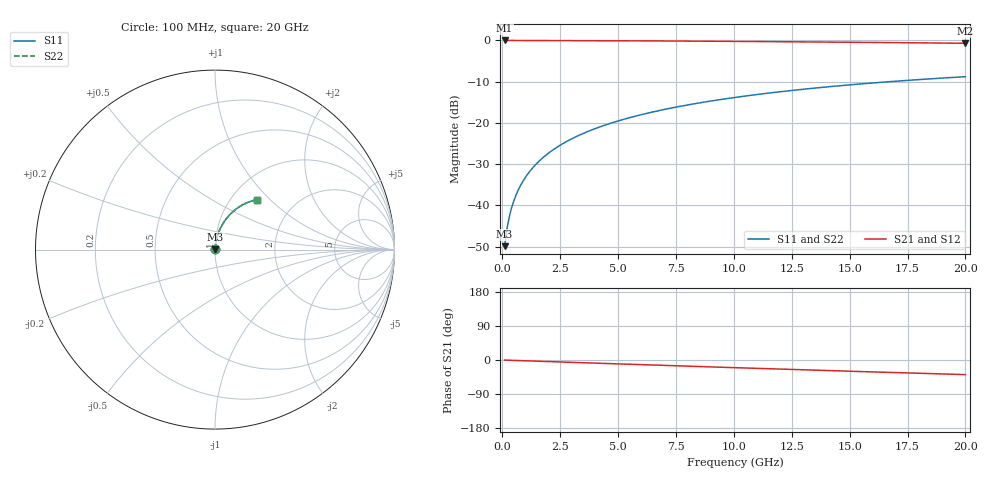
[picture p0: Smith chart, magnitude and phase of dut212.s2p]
! Touchstone file exported from HFSS 2026.1.0
!  File:  C:/ffzhzh/LocalFiles/Ansys_Project_Files/temp_train_TMRDL_212_1782984156_45328.aedt
!  Generated:  05:23:56 PM Jul  2, 2026
!  Design:  TMRDL
!  Project:  temp_train_TMRDL_212_1782984156_45328
! Variables:
!  h_bsmrdl = 2um
!  h_ox = 20um
!  h_rdl = 5um
!  h_sub = 80um
!  h_tmrdl = 3.7um
!  h_tsv = 80um
!  h_via = 3um
!  l_bsmrdl = 300um
!  l_sub = 940.09um
!  l_tmrdl = 540.09um
!  m_sub = 200um
!  pitch = 58.17um
!  r_tsv = 6um
!  s_tmrdl = 10um
!  w_bsmrdl = 18um
!  w_sub = 500um
!  w_tmrdl = 26.59um
!  x_tsv_center1 = 553.385um
!  x_tsv_center2 = 871.385um
!  x_tsv_center3 = 1438.065um
!  x_tsv_center4 = 1756.065um
!  x_tsv_center5 = 2322.745um
!  x_tsv_center6 = 2640.745um
# GHz S MA R 50.000000
! Terminal data exported
! Port[1] = TM_RDL1_1_T1
! Port[2] = TM_RDL1_1_T2
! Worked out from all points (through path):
!   200 points, 100 MHz to 20 GHz, reference 50 ohm
!   highest |S21| = -0.02 dB at 100 MHz (marker M1); lowest = -0.7 dB at 20 GHz (marker M2)
!   group delay of S21, straight-line fit = 5.37 ps
!   lowest |S11| = -49.9 dB at 100 MHz (marker M3), VSWR 1.01, Z = 50.2 + j0.235 ohm
!   |S11| at or under -10 dB: start of sweep to 16.75 GHz
!   |S22| runs from -49.9 to -8.8 dB; largest |S21 - S12| = 5.3e-15
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0.1  0.003199 46.9  0.9978 -0.2  0.9978 -0.2  0.003199 46.9
! Gamma 0 0 0 0
! Port Impedance 50 0 50 0
0.2  0.00516 63.0  0.9977 -0.4  0.9977 -0.4  0.00516 63.0
0.3  0.00723 69.6  0.9975 -0.6  0.9975 -0.6  0.007231 69.6
0.4  0.009307 73.2  0.9974 -0.8  0.9974 -0.8  0.009307 73.2
0.5  0.01138 75.6  0.9973 -1.1  0.9973 -1.1  0.01139 75.6
0.7  0.01556 78.4  0.9972 -1.5  0.9972 -1.5  0.01556 78.4
0.8  0.01765 79.2  0.9971 -1.7  0.9971 -1.7  0.01765 79.2
1  0.02186 80.4  0.9969 -2.1  0.9969 -2.1  0.02186 80.4
1.2  0.02609 81.1  0.9968 -2.5  0.9968 -2.5  0.02609 81.1
1.4  0.03032 81.5  0.9966 -2.9  0.9966 -2.9  0.03032 81.5
1.7  0.03668 81.7  0.9963 -3.5  0.9963 -3.5  0.03668 81.7
2  0.04303 81.7  0.996 -4.2  0.996 -4.2  0.04303 81.7
2.7  0.05781 81.0  0.995 -5.6  0.995 -5.6  0.05781 81.0
3.5  0.07456 79.9  0.9935 -7.2  0.9935 -7.2  0.07456 79.9
4.2  0.08907 78.7  0.992 -8.7  0.992 -8.7  0.08907 78.7
5  0.1055 77.3  0.99 -10.3  0.99 -10.3  0.1055 77.3
6.8  0.1415 74.0  0.9846 -13.9  0.9846 -13.9  0.1415 73.9
8.3  0.1706 71.1  0.9793 -16.9  0.9793 -16.9  0.1706 71.1
10.1  0.2042 67.8  0.9722 -20.4  0.9722 -20.4  0.2043 67.7
13.4  0.2624 61.7  0.9573 -26.7  0.9573 -26.7  0.2624 61.7
16.7  0.3154 55.8  0.9406 -32.7  0.9406 -32.7  0.3154 55.7
20  0.363 50.1  0.923 -38.6  0.923 -38.6  0.363 50.0
